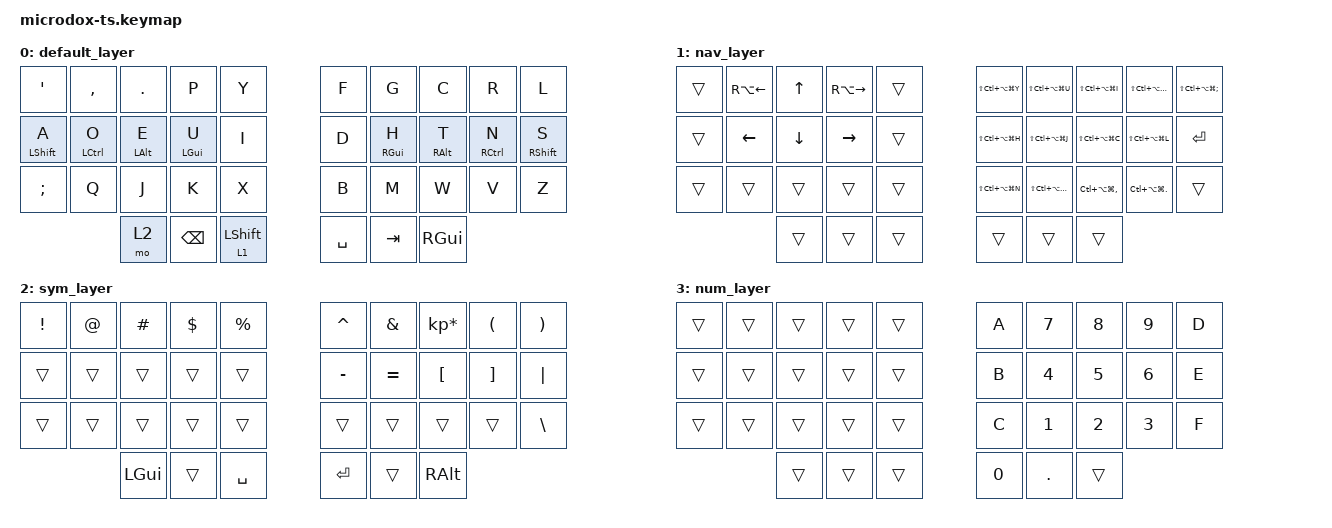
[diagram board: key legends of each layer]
/*
 * Copyright (c) 2020 The ZMK Contributors
 *
 * SPDX-License-Identifier: MIT
 */

#include <behaviors.dtsi>
#include <dt-bindings/zmk/keys.h>
#include <dt-bindings/zmk/bt.h>

/ {

    behaviors {

        phr: positional_hold_right {
            compatible = "zmk,behavior-hold-tap";
            label = "POSITIONAL_HOLD_RIGHT";
            #binding-cells = <2>;
            flavor = "balanced";
            tapping-term-ms = <150>;
            quick-tap-ms = <120>;
            bindings = <&kp>, <&kp>;
            hold-trigger-key-positions = <10>, <11>, <12>, <13>, <14>;    // <---[[the W key]]
        };

        phl: positional_hold_left {
            compatible = "zmk,behavior-hold-tap";
            label = "POSITIONAL_HOLD_LEFT";
            #binding-cells = <2>;
            flavor = "balanced";
            tapping-term-ms = <150>;
            quick-tap-ms = <120>;
            bindings = <&kp>, <&kp>;
            hold-trigger-key-positions = <15>, <16>, <17>, <18>, <19>;    // <---[[the W key]]
        };
    };

    macros {

        lst: layer_sticky_tap {
            compatible = "zmk,behavior-hold-tap";
            label = "LAYER_STICKY_TAP";
            #binding-cells = <2>;
            tapping-term-ms = <175>;
            quick_tap_ms = <0>;
            flavor = "tap-preferred";
            bindings = <&mo>, <&sk>;
        };

        ght: generic_hold-tap {
            compatible = "zmk,behavior-hold-tap";
            label = "GENERIC_HOLD_TAP";
            #binding-cells = <2>;
            tapping-term-ms = <120>;
            quick_tap_ms = <0>;
            flavor = "tap-preferred";
            bindings = <&kp>, <&kp>;
        };
    };

        keymap {
                compatible = "zmk,keymap";
                default_layer {

// 0-----------------------------------------------------------------------------------------
// |  '  |  ,  |  .  |  p  |  y   |          |  f  |  g   |  c  |  r  |  l  |
// |  a  |  o  |  e  |  u  |  i   |          |  d  |  h   |  t  |  n  |  s  |
// |  ;  |  q  |  j  |  k  |  x   |          |  b  |  m   |  w  |  v  |  z  |
//             | GUI | NAV | SHFT |          | SPC | SYM  | ALT |

                        bindings = <
   &kp SQT      &kp COMMA       &kp DOT         &kp P      &kp Y        &kp F   &kp G       &kp C           &kp R           &kp L
   &phl LSHFT A &phl LCTRL O    &phl LALT E     &phl LGUI U     &kp I        &kp D   &phr RGUI H     &phr RALT T     &phr RCTRL N    &phr RSHFT S
   &kp SEMI     &kp Q           &kp J           &kp K      &kp X        &kp B   &kp M       &kp W           &kp V           &kp Z
   &mo 2        &kp BSPC        &lst 1 LSHFT                                                         &kp SPACE       &kp TAB         &kp RGUI
                        >;
                };

                nav_layer {
// 1-----------------------------------------------------------------------------------------
// |BTCLR|     | ESC |  ~   |     |          | TAB | HOME |  UP  | END | DEL  |
// | BT1 | GUI | ALT | CTRL | NUM |          |  /  | LEFT | DOWN | RGT | BKSP |
// | BT2 |     |     |      |     |          |  \  | ENT  |      |     |      |
//             |     |      |     |          |     |      |      |
                        bindings = <
   &trans   &kp RA(LEFT)        &kp UP          &kp RA(RIGHT)   &trans        &kp LS(LC(LA(LG(Y))))   &kp LS(LC(LA(LG(U))))        &kp  LS(LC(LA(LG(I))))       &kp LS(LC(LA(LG(O))))   &kp LS(LC(LA(LG(SEMI))))
   &trans   &kp LEFT            &kp DOWN        &kp RIGHT       &trans        &kp LS(LC(LA(LG(H))))   &kp LS(LC(LA(LG(J))))        &kp LS(LC(LA(LG(C))))        &kp LS(LC(LA(LG(L))))   &kp RET
   &trans   &trans              &trans          &trans          &trans        &kp LS(LC(LA(LG(N))))   &kp LS(LC(LA(LG(M))))        &kp  LC(LA(LG(COMMA)))       &kp LC(LA(LG(DOT)))     &trans
                                &trans          &trans          &trans        &trans                    &trans                     &trans
                        >;
                };

                sym_layer {
// 2-----------------------------------------------------------------------------------------
// |  !  |  @  |  #  |  $  |  %  |          |  ^  |  &  |  *  |  (  |  )  |
// |     |     |     |     |     |          |  -  |  =  |  {  |  }  | "|" |
// |     |     |     |     |     |          |  _  |  +  |  [  |  ]  |  \  |
//             | GUI |     | SPC |          | ENT |     | ALT |
                        bindings = <
   &kp EXCL  &kp AT    &kp HASH  &kp DLLR  &kp PRCNT   &kp CARET &kp AMPS  &kp KP_MULTIPLY &kp LPAR &kp RPAR
   &trans    &trans    &trans    &trans    &trans      &kp MINUS &kp EQUAL &kp LBKT        &kp RBKT &kp PIPE
   &trans    &trans    &trans    &trans    &trans      &trans    &trans    &trans          &trans   &kp BSLH
                       &kp LGUI  &trans    &kp SPACE   &kp RET   &trans    &kp RALT
                        >;
                };

// This layer is unreachable until "tri layer state" is sorted out.
// Leaving it here for completeness.
                num_layer {
// 3-----------------------------------------------------------------------------------------
// |     |     |     |     |     |          |  A  |  7  |  8  |  9  |  D  |
// |     |     |     |     |     |          |  B  |  4  |  5  |  6  |  E  |
// |     |     |     |     |     |          |  C  |  1  |  2  |  3  |  F  |
//             |     |     |     |          |  0  |  .  |     |
                        bindings = <
   &trans &trans &trans &trans &trans    &kp A  &kp N7  &kp N8 &kp N9 &kp D
   &trans &trans &trans &trans &trans    &kp B  &kp N4  &kp N5 &kp N6 &kp E
   &trans &trans &trans &trans &trans    &kp C  &kp N1  &kp N2 &kp N3 &kp F
                 &trans &trans &trans    &kp N0 &kp DOT &trans
                        >;
                };
        };
};
